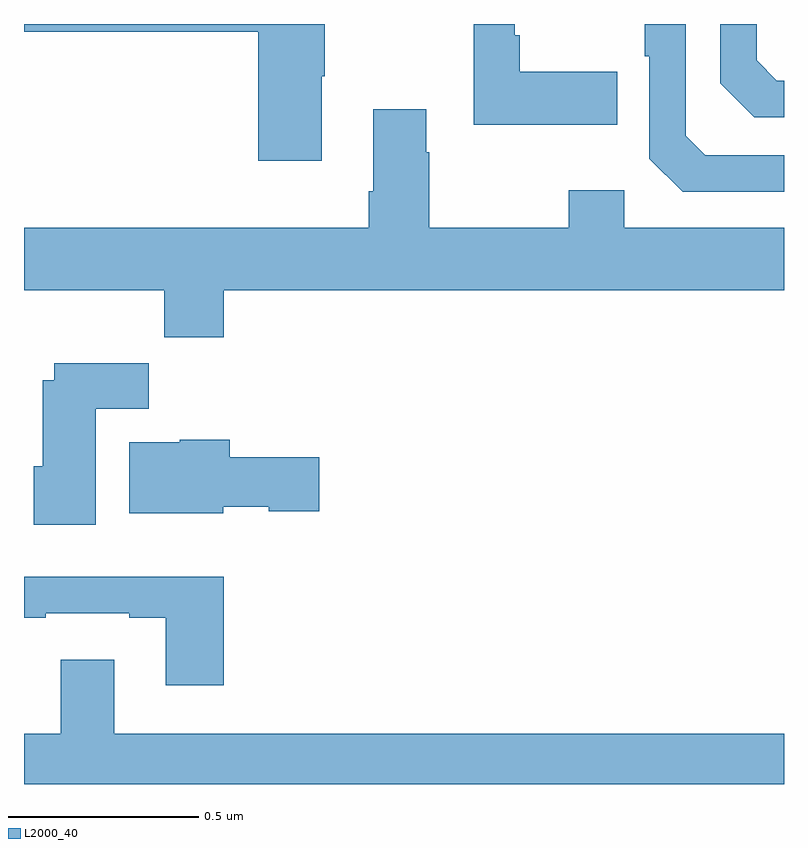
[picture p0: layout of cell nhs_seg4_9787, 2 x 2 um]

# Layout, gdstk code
import gdstk
lib = gdstk.Library(unit=1e-6, precision=1e-09)
def P(c, l, *ps):  # polygons
    for p in ps: c.add(gdstk.Polygon(p, *l))
L2000_40 = (2000, 40)

nhs_seg4_9787 = lib.new_cell('nhs_seg4_9787')
P(nhs_seg4_9787, L2000_40, [(233.561,750.775),(233.305,750.775),(233.305,750.871),(233.292,750.871),(233.292,750.9),(233.184,750.9),(233.184,750.635),(233.561,750.635)],
  [(234,750.751),(233.981,750.751),(233.928,750.804),(233.928,750.9),(233.832,750.9),(233.832,750.744),(233.922,750.654),(234,750.654)],
  [(232.783,750.763),(232.791,750.763),(232.791,750.9),(232,750.9),(232,750.88),(232.616,750.88),(232.616,750.54),(232.783,750.54)],
  [(234,750.555),(233.793,750.555),(233.742,750.606),(233.742,750.9),(233.634,750.9),(233.634,750.815),(233.646,750.815),(233.646,750.546),(233.733,750.459),(234,750.459)],
  [(232.526,750.2),(234,750.2),(234,750.364),(233.58,750.364),(233.58,750.463),(233.434,750.463),(233.434,750.364),(233.067,750.364),(233.067,750.563),(233.059,750.563),(233.059,750.676),(232.919,750.676),(232.919,750.46),(232.907,750.46),(232.907,750.364),(232,750.364),(232,750.2),(232.369,750.2),(232.369,750.076),(232.526,750.076)],
  [(232.189,749.888),(232.328,749.888),(232.328,750.007),(232.079,750.007),(232.079,749.962),(232.049,749.962),(232.049,749.736),(232.025,749.736),(232.025,749.582),(232.189,749.582)],
  [(232.524,749.63),(232.644,749.63),(232.644,749.618),(232.777,749.618),(232.777,749.76),(232.541,749.76),(232.541,749.806),(232.41,749.806),(232.41,749.8),(232.277,749.8),(232.277,749.612),(232.524,749.612)],
  [(232.526,749.446),(232,749.446),(232,749.337),(232.057,749.337),(232.057,749.349),(232.277,749.349),(232.277,749.337),(232.373,749.337),(232.373,749.16),(232.526,749.16)],
  [(234,749.032),(232.237,749.032),(232.237,749.227),(232.097,749.227),(232.097,749.032),(232,749.032),(232,748.9),(234,748.9)])

lib.write_gds('nhs_seg4_9787.gds')
